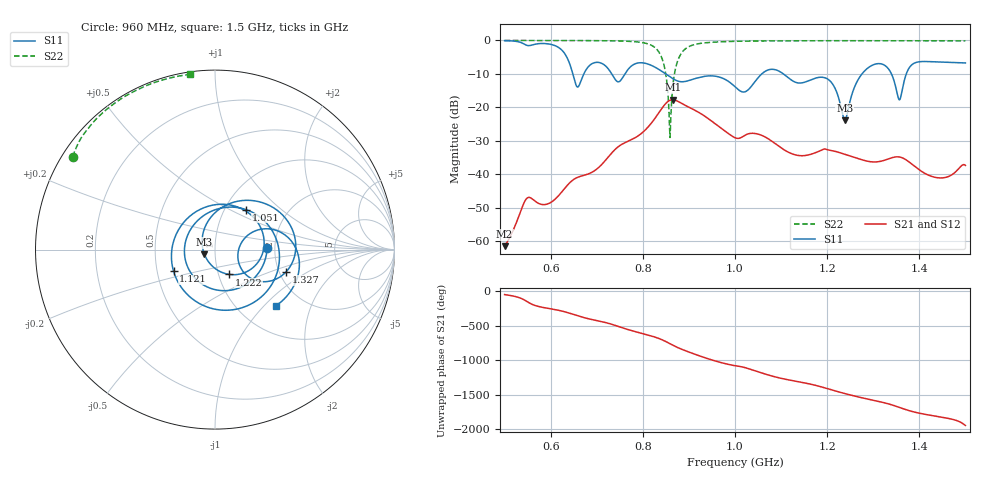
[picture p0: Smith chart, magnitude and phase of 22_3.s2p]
! TOUCHSTONE file generated by CST MICROWAVE STUDIO
! Date and time: Fri Dec 11 14:12:40 2020
! Project name: Scenario_1_Planar_Body_Tissue_Out_of_Line_v2.cst
! Parameters = {dy1=17.3; L_HA=400; Ltissue=700; MT=2.54; Rad_Dielectric=30; Rad_Lower=7.3; Rad_Upper=30; Wtissue=700; a_HA=580; a_WG=246; b_HA=500; b_WG=121; c_HA=0; c_WG=187; d_feed=85; dx1=520; h_feed=15; h_lower=18; h_upper=40; hfat=3; hgap=25; hmuscle=50; hskin=1.5}
! Header version: 2018
! Port assignment regex: !\s*Touchstone port\s*([0-9]+)\s*=\s*(CST MWS port|CST DS port)\s*([0-9]+|Zmin|Zmax)\s*\(\"(.*)\"\)(\s*mode\s*([0-9]+))?.*
! Touchstone port assignment:
! Touchstone port 1 = CST MWS port 1 ("")
! Touchstone port 2 = CST MWS port 2 ("")
# GHz S DB R 50
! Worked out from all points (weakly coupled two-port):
!   1003 points, 500 MHz to 1.5 GHz, reference 50 ohm
!   highest |S21| = -17.72 dB at 865 MHz (marker M1); lowest = -61.4 dB at 500 MHz (marker M2)
!   lowest |S11| = -23.8 dB at 1.238 GHz (marker M3), VSWR 1.14, Z = 44.4 - j2.32 ohm
!   |S11| at or under -10 dB: 849.7 MHz to 1.058 GHz (208.3 MHz wide, 21.8 % of centre); 1.105 GHz to 1.276 GHz (170.5 MHz wide, 14.3 % of centre); 1.34 GHz to 1.372 GHz (32.12 MHz wide, 2.37 % of centre) (the widest 3 of 5)
!   |S22| runs from -29.0 to 0.0 dB; largest |S21 - S12| = 0.00025
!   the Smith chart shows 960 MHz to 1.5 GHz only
!   S11 on the Smith chart (normalised r, x): 960 MHz: 1.82, +0.04; 1.051 GHz: 1.25, +0.61; 1.121 GHz: 0.61, -0.16; 1.222 GHz: 1.13, -0.32; 1.327 GHz: 2.18, -0.65; 1.5 GHz: 1.48, -1.17
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0.5  -0.07 -122.0  -61.41 -48.1  -61.41 -48.1  -0.01 151.2
0.63  -3.84 146.0  -44.23 63.2  -44.23 63.2  -0.03 141.7
0.667  -11.63 178.8  -40.46 -13.2  -40.46 -13.2  -0.04 138.4
0.716  -7.27 105.7  -36.24 -88.3  -36.24 -88.3  -0.09 132.9
0.741  -11.82 8.4  -32.38 -137.1  -32.38 -137.1  -0.14 129.1
0.786  -6.84 166.5  -28.83 130.9  -28.83 130.9  -0.42 118.5
0.834  -8.59 44.2  -21.73 37.7  -21.73 37.7  -3.30 85.0
0.858  -10.77 -27.5  -17.93 -36.5  -17.93 -36.5  -26.20 -1.3
0.865  -11.39 -51.5  -17.72 -61.0  -17.72 -61.0  -13.65 -139.0
0.902  -11.88 171.7  -20.08 -165.7  -20.08 -165.7  -1.71 167.9
0.96  -10.74 1.9  -25.19 64.6  -25.19 64.6  -0.47 146.9
1  -13.82 -112.3  -29.03 1.7  -29.03 1.7  -0.26 140.4
1.051  -11.00 52.2  -28.00 -88.6  -28.00 -88.6  -0.17 134.4
1.121  -11.69 -152.5  -33.69 150.1  -33.69 150.1  -0.11 128.0
1.167  -11.61 71.1  -33.88 90.1  -33.88 90.1  -0.10 124.3
1.222  -15.93 -60.0  -33.28 -12.0  -33.27 -12.0  -0.08 120.0
1.238  -23.83 -156.2  -33.98 -41.2  -33.98 -41.2  -0.08 118.8
1.327  -7.64 -17.3  -35.65 179.9  -35.65 179.9  -0.08 112.1
1.334  -8.66 -27.3  -35.31 167.2  -35.31 167.2  -0.08 111.6
1.357  -17.74 -6.0  -34.79 117.2  -34.79 117.2  -0.09 109.8
1.389  -6.79 -1.3  -37.50 50.9  -37.50 50.9  -0.09 107.3
1.5  -6.72 -42.6  -37.30 -143.5  -37.30 -143.5  -0.13 98.0
